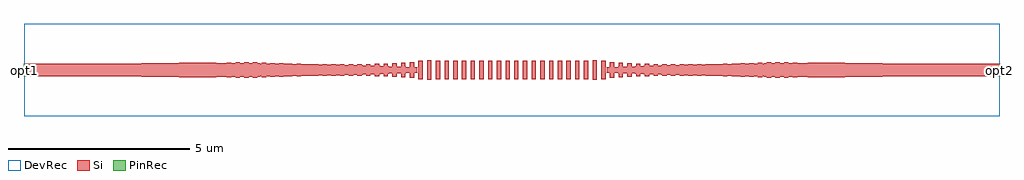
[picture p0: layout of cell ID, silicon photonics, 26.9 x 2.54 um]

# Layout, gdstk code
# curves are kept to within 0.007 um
import gdstk
lib = gdstk.Library(unit=1e-6, precision=1e-09)
def R(c, l, rs):  # rectangles x0, y0, x1, y1
    for r in rs: c.add(gdstk.rectangle(r[:2], r[2:], *l))
def P(c, l, *ps):  # polygons
    for p in ps: c.add(gdstk.Polygon(p, *l))
Si = (1, 0)
PinRec = (1, 10)
DevRec = (68, 0)

c_id = lib.new_cell('ID')
R(c_id, Si, [(-2.339,-0.269,-2.219,0.269), (2.219,-0.269,2.339,0.269), (-2.1,-0.259,-1.979,0.259), (-1.859,-0.259,-1.739,0.259), (1.739,-0.259,1.859,0.259), (1.979,-0.259,2.1,0.259), (-1.619,-0.255,-1.499,0.255), (1.499,-0.255,1.619,0.255), (-2.58,-0.253,-2.459,0.253), (-1.38,-0.253,-1.26,0.253), (1.26,-0.253,1.38,0.253), (2.459,-0.253,2.58,0.253), (-1.139,-0.251,-1.02,0.251), (1.02,-0.251,1.139,0.251), (-0.899,-0.25,-0.779,0.25), (-0.659,-0.25,-0.539,0.25), (-0.42,-0.25,-0.3,0.25), (-0.179,-0.25,-0.059,0.25), (0.059,-0.25,0.179,0.25), (0.3,-0.25,0.42,0.25), (0.539,-0.25,0.659,0.25), (0.779,-0.25,0.899,0.25), (-2.819,-0.217,-2.699,0.217), (2.699,-0.217,2.819,0.217), (-7.38,-0.214,-7.26,0.214), (7.26,-0.214,7.38,0.214), (-7.139,-0.21,-7.02,0.21), (7.02,-0.21,7.139,0.21), (-7.619,-0.209,-7.499,0.209), (7.499,-0.209,7.619,0.209), (-6.899,-0.201,-6.779,0.201), (6.779,-0.201,6.899,0.201), (-7.859,-0.199,-7.739,0.199), (7.739,-0.199,7.859,0.199), (-3.059,-0.198,-2.939,0.198), (2.939,-0.198,3.059,0.198), (-6.66,-0.19,-6.54,0.19), (6.54,-0.19,6.66,0.19), (-8.099,-0.189,-7.979,0.189), (7.979,-0.189,8.099,0.189), (-3.299,-0.187,-3.179,0.187), (3.179,-0.187,3.299,0.187), (-6.419,-0.181,-6.3,0.181), (6.3,-0.181,6.419,0.181), (-10.019,-0.18,-9.899,0.18), (9.899,-0.18,10.019,0.18), (-10.259,-0.179,-10.139,0.179), (10.139,-0.179,10.259,0.179), (-9.78,-0.178,-9.659,0.178), (9.659,-0.178,9.78,0.178), (-9.539,-0.176,-9.419,0.176), (-3.539,-0.176,-3.419,0.176), (3.419,-0.176,3.539,0.176), (9.419,-0.176,9.539,0.176), (-13.44,-0.175,-10.44,0.175), (10.44,-0.175,13.44,0.175), (-9.299,-0.174,-9.179,0.174), (-6.179,-0.174,-6.06,0.174), (6.06,-0.174,6.179,0.174), (9.179,-0.174,9.299,0.174), (-3.78,-0.169,-3.659,0.169), (3.659,-0.169,3.78,0.169), (-5.939,-0.167,-5.819,0.167), (5.819,-0.167,5.939,0.167), (-8.34,-0.165,-8.22,0.165), (8.22,-0.165,8.34,0.165), (-5.7,-0.163,-5.58,0.163), (5.58,-0.163,5.7,0.163), (-9.06,-0.162,-8.94,0.162), (8.94,-0.162,9.06,0.162), (-8.58,-0.16,-8.459,0.16), (-4.019,-0.16,-3.9,0.16), (3.9,-0.16,4.019,0.16), (8.459,-0.16,8.58,0.16), (-5.459,-0.159,-5.34,0.159), (5.34,-0.159,5.459,0.159), (-4.26,-0.158,-4.14,0.158), (4.14,-0.158,4.26,0.158), (-5.219,-0.157,-5.099,0.157), (5.099,-0.157,5.219,0.157), (-8.819,-0.155,-8.699,0.155), (8.699,-0.155,8.819,0.155), (-4.98,-0.154,-4.86,0.154), (4.86,-0.154,4.98,0.154), (-4.739,-0.153,-4.62,0.153), (-4.499,-0.153,-4.38,0.153), (4.38,-0.153,4.499,0.153), (4.62,-0.153,4.739,0.153)])
P(c_id, Si, [(8.304,-0.194),(4.903,-0.144),(2.926,-0.085),(2.61,-0.07),(2.61,0.07),(4.112,0.126),(6.959,0.181),(8.937,0.194),(10.44,0.175),(10.44,-0.175)],
  [(-8.937,-0.194),(-10.44,-0.175),(-10.44,0.175),(-8.937,0.194),(-6.959,0.181),(-4.112,0.126),(-2.61,0.07),(-2.61,-0.07),(-3.163,-0.095),(-4.35,-0.132),(-6.643,-0.176)])
R(c_id, DevRec, [(-13.44,-1.269,13.44,1.269)])
c_id.add(gdstk.FlexPath([(-13.43,0),(-13.45,0)], 0.35, ends="flush", simple_path=True, layer=1, datatype=10))  # PinRec
c_id.add(gdstk.FlexPath([(13.43,0),(13.45,0)], 0.35, ends="flush", simple_path=True, layer=1, datatype=10))  # PinRec
c_id.add(gdstk.Label('opt1', (-13.44,0), layer=1, texttype=10))
c_id.add(gdstk.Label('opt2', (13.44,0), layer=1, texttype=10))

lib.write_gds('ID.gds')
